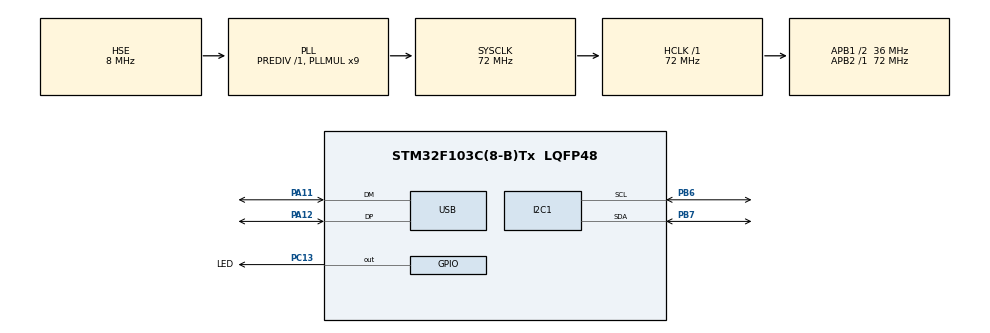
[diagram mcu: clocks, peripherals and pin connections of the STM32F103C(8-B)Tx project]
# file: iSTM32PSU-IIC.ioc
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Mcu.Family=STM32F1
Mcu.Name=STM32F103C(8-B)Tx
Mcu.Package=LQFP48
NVIC.PriorityGroup=NVIC_PRIORITYGROUP_4
NVIC.USB_LP_CAN1_RX0_IRQn=true\:0\:0\:false\:false\:true\:false\:true\:true
PA11.Mode=Device
PA11.Signal=USB_DM
PA12.Mode=Device
PA12.Signal=USB_DP
PA13.Mode=Serial_Wire
PA13.Signal=SYS_JTMS-SWDIO
PA14.Mode=Serial_Wire
PA14.Signal=SYS_JTCK-SWCLK
PB6.Mode=I2C
PB6.Signal=I2C1_SCL
PB7.Mode=I2C
PB7.Signal=I2C1_SDA
PC13-TAMPER-RTC.GPIO_Label=LED
PC13-TAMPER-RTC.GPIO_ModeDefaultOutputPP=GPIO_MODE_OUTPUT_OD
PC13-TAMPER-RTC.GPIO_PuPd=GPIO_NOPULL
PC13-TAMPER-RTC.Signal=GPIO_Output
PD0-OSC_IN.Mode=HSE-External-Oscillator
PD0-OSC_IN.Signal=RCC_OSC_IN
PD1-OSC_OUT.Mode=HSE-External-Oscillator
PD1-OSC_OUT.Signal=RCC_OSC_OUT
ProjectManager.HeapSize=0x200
ProjectManager.StackSize=0x400
ProjectManager.TargetToolchain=STM32CubeIDE
RCC.AHBFreq_Value=72000000
RCC.APB1CLKDivider=RCC_HCLK_DIV2
RCC.APB1Freq_Value=36000000
RCC.APB1TimFreq_Value=72000000
RCC.APB2Freq_Value=72000000
RCC.APB2TimFreq_Value=72000000
RCC.HCLKFreq_Value=72000000
RCC.PLLMUL=RCC_PLL_MUL9
RCC.SYSCLKFreq_VALUE=72000000
RCC.SYSCLKSource=RCC_SYSCLKSOURCE_PLLCLK
RCC.USBFreq_Value=48000000
RCC.USBPrescaler=RCC_USBCLKSOURCE_PLL_DIV1_5
USB_DEVICE.CLASS_NAME_FS=CDC
USB_DEVICE.MANUFACTURER_STRING=www.stm32dds.tk
USB_DEVICE.PID_CDC_FS=0xDD83
USB_DEVICE.PRODUCT_STRING_CDC_FS=USB to PSU
USB_DEVICE.VID=0x1209
USB_DEVICE.VirtualMode=Cdc
USB_DEVICE.VirtualModeFS=Cdc_FS
VP_CRC_VS_CRC.Mode=CRC_Activate
VP_USB_DEVICE_VS_USB_DEVICE_CDC_FS.Mode=CDC_FS
board=custom

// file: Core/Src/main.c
/* USER CODE BEGIN Header */
/**
  ******************************************************************************
  * @file           : main.c
  * @brief          : Main program body
  ******************************************************************************
  * @attention
  *
  * Copyright (c) 2024 STMicroelectronics.
  * All rights reserved.
  *
  * This software is licensed under terms that can be found in the LICENSE file
  * in the root directory of this software component.
  * If no LICENSE file comes with this software, it is provided AS-IS.
  *
  ******************************************************************************
  */
/* USER CODE END Header */
#include "main.h"
#include "usb_device.h"

/* USER CODE BEGIN PD */
#define I2C_SLAVE_ADDRESS 0x2D
#define I2C_BUFF_LEN 16 //multiple of 4 number
/* USER CODE END PD */

CRC_HandleTypeDef hcrc;

I2C_HandleTypeDef hi2c1;

/* USER CODE BEGIN PV */
uint8_t masterTxBuf[I2C_BUFF_LEN];//0-On/Off,1-4 uSP,5-8 iSP, 12-15-CRC
uint8_t masterRxBuf[I2C_BUFF_LEN];//0-On/Off,1-4 outU,5-8 outI, 12-15-CRC
float uSP = 0.0; // set point for output voltage
float iSP = 0.0; // set point for output current
float outU = 0.0;
float outI = 0.0;
uint8_t on_off = false; // disable/enable power at output 0/1
uint8_t on_off_slave_state = false; // state of slave controlled device
uint32_t tempCRC;
bool i2cError = false; // help flag to indicate I2C CRC Error
//PVs Used into USB communication
extern uint8_t UserRxBufferFS[]; //Buffer for Received USB Data
extern uint8_t UserTxBufferFS[]; //Buffer for USB Transmitted Data
extern bool usb_ON_Receiving; //USB gets actual data, don't update i2c
extern bool usb_IS_Connected; //USB is connected to HOST

/* USER CODE END PV */

void SystemClock_Config(void);
static void MX_GPIO_Init(void);
static void MX_CRC_Init(void);
static void MX_I2C1_Init(void);
/* USER CODE BEGIN PFP */
uint8_t CDC_Transmit_FS(uint8_t* Buf, uint16_t Len);
/* USER CODE END PFP */

int main(void)
{

  /* MCU Configuration--------------------------------------------------------*/

  /* Reset of all peripherals, Initializes the Flash interface and the Systick. */
  HAL_Init();

  /* Configure the system clock */
  SystemClock_Config();

  /* Initialize all configured peripherals */
  MX_GPIO_Init();
  MX_CRC_Init();
  MX_I2C1_Init();
  MX_USB_DEVICE_Init();
  /* USER CODE BEGIN 2 */
  while(!usb_IS_Connected)
  {
	  HAL_GPIO_WritePin(LED_GPIO_Port, LED_Pin, GPIO_PIN_RESET);
	  HAL_Delay(50);
	  HAL_GPIO_WritePin(LED_GPIO_Port, LED_Pin, GPIO_PIN_SET);
	  HAL_Delay(950);
  }
  /* USER CODE END 2 */

  /* Infinite loop */
  /* USER CODE BEGIN WHILE */
  while (1)
  {
	 while(!usb_IS_Connected)
		 HAL_GPIO_WritePin(LED_GPIO_Port, LED_Pin, GPIO_PIN_SET);
	 HAL_GPIO_TogglePin(LED_GPIO_Port, LED_Pin);
	 //Data transfer from USB to memory
	 while(usb_ON_Receiving){;} // Wait if USB RX Buffer to be updated
	 memcpy(&on_off,&UserRxBufferFS[0],sizeof(on_off));
	 memcpy(&uSP,&UserRxBufferFS[1],sizeof(uSP));
	 memcpy(&iSP,&UserRxBufferFS[5],sizeof(iSP));
	 //Data Transfer from memory to i2c
	 masterTxBuf[0]= on_off;
	 memcpy(&masterTxBuf[1], &uSP, sizeof(uSP));
	 memcpy(&masterTxBuf[5], &iSP, sizeof(iSP));
	 tempCRC = HAL_CRC_Calculate(&hcrc,(uint32_t *)masterTxBuf, (I2C_BUFF_LEN/4)-1);
	 memcpy(&masterTxBuf[I2C_BUFF_LEN-4],&tempCRC,sizeof(tempCRC));
	 HAL_I2C_Master_Transmit(&hi2c1, (I2C_SLAVE_ADDRESS << 1),
				  	  	  	  	  	  	  (uint8_t*) &masterTxBuf, I2C_BUFF_LEN, 500);
	 //Wait slave to complete i2c receiving
	 HAL_Delay(5);
	 //Data receiving from slave trough i2c
	 HAL_I2C_Master_Receive(&hi2c1, (I2C_SLAVE_ADDRESS << 1),
			 	 	 	 	 	 	 	  (uint8_t*) &masterRxBuf, I2C_BUFF_LEN, 500);
	 memcpy(&on_off_slave_state, &masterRxBuf[0], sizeof(on_off_slave_state));
	 memcpy(&outU, &masterRxBuf[1], sizeof(outU));
	 memcpy(&outI, &masterRxBuf[5], sizeof(outI));
	 memcpy(&tempCRC, &masterRxBuf[I2C_BUFF_LEN-4], sizeof(tempCRC));
	 if(tempCRC == HAL_CRC_Calculate(&hcrc,(uint32_t *)masterRxBuf, (I2C_BUFF_LEN/4)-1))
		 	i2cError = false;
	 else 	i2cError = true;
	 // Data sent to PC via USB if valid packet received
	 if(!i2cError)
	 {
		 UserTxBufferFS[0] = on_off_slave_state;
		 memcpy(&UserTxBufferFS[1],&outU, sizeof(outU));
		 memcpy(&UserTxBufferFS[5],&outI, sizeof(outI));
		 CDC_Transmit_FS(UserTxBufferFS, 9);
	 }

    /* USER CODE END WHILE */

  }
}

void SystemClock_Config(void)
{
  RCC_OscInitTypeDef RCC_OscInitStruct = {0};
  RCC_ClkInitTypeDef RCC_ClkInitStruct = {0};
  RCC_PeriphCLKInitTypeDef PeriphClkInit = {0};

  /** Initializes the RCC Oscillators according to the specified parameters
  * in the RCC_OscInitTypeDef structure.
  */
  RCC_OscInitStruct.OscillatorType = RCC_OSCILLATORTYPE_HSE;
  RCC_OscInitStruct.HSEState = RCC_HSE_ON;
  RCC_OscInitStruct.HSEPredivValue = RCC_HSE_PREDIV_DIV1;
  RCC_OscInitStruct.HSIState = RCC_HSI_ON;
  RCC_OscInitStruct.PLL.PLLState = RCC_PLL_ON;
  RCC_OscInitStruct.PLL.PLLSource = RCC_PLLSOURCE_HSE;
  RCC_OscInitStruct.PLL.PLLMUL = RCC_PLL_MUL9;
  if (HAL_RCC_OscConfig(&RCC_OscInitStruct) != HAL_OK)
  {
    Error_Handler();
  }

  /** Initializes the CPU, AHB and APB buses clocks
  */
  RCC_ClkInitStruct.ClockType = RCC_CLOCKTYPE_HCLK|RCC_CLOCKTYPE_SYSCLK
                              |RCC_CLOCKTYPE_PCLK1|RCC_CLOCKTYPE_PCLK2;
  RCC_ClkInitStruct.SYSCLKSource = RCC_SYSCLKSOURCE_PLLCLK;
  RCC_ClkInitStruct.AHBCLKDivider = RCC_SYSCLK_DIV1;
  RCC_ClkInitStruct.APB1CLKDivider = RCC_HCLK_DIV2;
  RCC_ClkInitStruct.APB2CLKDivider = RCC_HCLK_DIV1;

  if (HAL_RCC_ClockConfig(&RCC_ClkInitStruct, FLASH_LATENCY_2) != HAL_OK)
  {
    Error_Handler();
  }
  PeriphClkInit.PeriphClockSelection = RCC_PERIPHCLK_USB;
  PeriphClkInit.UsbClockSelection = RCC_USBCLKSOURCE_PLL_DIV1_5;
  if (HAL_RCCEx_PeriphCLKConfig(&PeriphClkInit) != HAL_OK)
  {
    Error_Handler();
  }
}

static void MX_CRC_Init(void)
{

  hcrc.Instance = CRC;
  if (HAL_CRC_Init(&hcrc) != HAL_OK)
  {
    Error_Handler();
  }

}

static void MX_I2C1_Init(void)
{

  hi2c1.Instance = I2C1;
  hi2c1.Init.ClockSpeed = 100000;
  hi2c1.Init.DutyCycle = I2C_DUTYCYCLE_2;
  hi2c1.Init.OwnAddress1 = 0;
  hi2c1.Init.AddressingMode = I2C_ADDRESSINGMODE_7BIT;
  hi2c1.Init.DualAddressMode = I2C_DUALADDRESS_DISABLE;
  hi2c1.Init.OwnAddress2 = 0;
  hi2c1.Init.GeneralCallMode = I2C_GENERALCALL_DISABLE;
  hi2c1.Init.NoStretchMode = I2C_NOSTRETCH_DISABLE;
  if (HAL_I2C_Init(&hi2c1) != HAL_OK)
  {
    Error_Handler();
  }

}

static void MX_GPIO_Init(void)
{
  GPIO_InitTypeDef GPIO_InitStruct = {0};

  /* GPIO Ports Clock Enable */
  __HAL_RCC_GPIOC_CLK_ENABLE();
  __HAL_RCC_GPIOD_CLK_ENABLE();
  __HAL_RCC_GPIOA_CLK_ENABLE();
  __HAL_RCC_GPIOB_CLK_ENABLE();

  /*Configure GPIO pin Output Level */
  HAL_GPIO_WritePin(LED_GPIO_Port, LED_Pin, GPIO_PIN_RESET);

  /*Configure GPIO pin : LED_Pin */
  GPIO_InitStruct.Pin = LED_Pin;
  GPIO_InitStruct.Mode = GPIO_MODE_OUTPUT_OD;
  GPIO_InitStruct.Pull = GPIO_NOPULL;
  GPIO_InitStruct.Speed = GPIO_SPEED_FREQ_LOW;
  HAL_GPIO_Init(LED_GPIO_Port, &GPIO_InitStruct);

}

void Error_Handler(void)
{
  __disable_irq();
  while (1)
  {
  }
}
